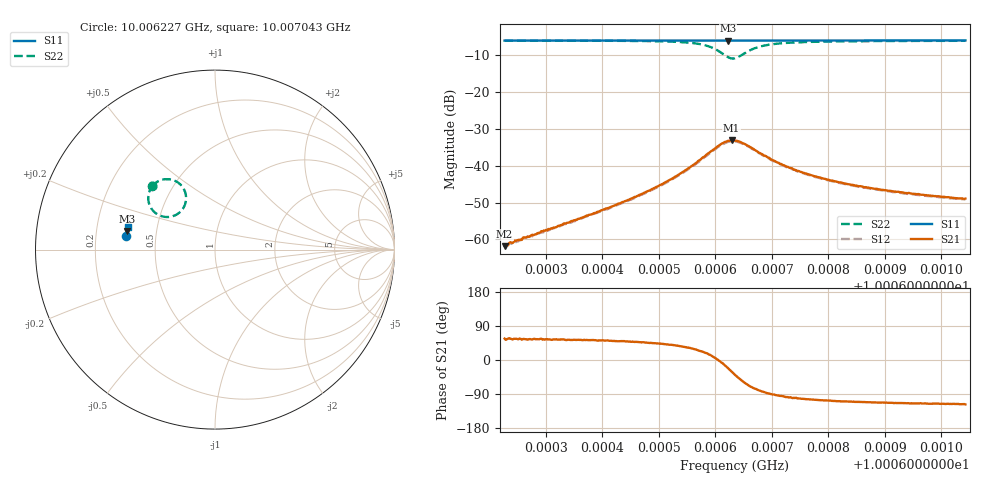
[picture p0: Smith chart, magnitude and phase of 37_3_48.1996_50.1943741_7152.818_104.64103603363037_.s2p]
#  HZ  S  RI  R  50.00
! Rohde & Schwarz Vector Network Analyzer
! Rohde-Schwarz,ZNB20-2Port,1311601062101988,3.16
! Created: UTC 3/20/2024, 11:37:43 AM
! freq[Hz]  re:S11  im:S11  re:S21  im:S21  re:S12  im:S12  re:S22  im:S22
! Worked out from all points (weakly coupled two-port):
!   401 points, 10.006227 GHz to 10.007043 GHz, reference 50 ohm
!   highest |S21| = -33.10 dB at 10.006629 GHz (marker M1); lowest = -61.8 dB at 10.006227 GHz (marker M2)
!   lowest |S11| = -6.0 dB at 10.006623 GHz (marker M3), VSWR 3.00, Z = 16.8 + j4.58 ohm
!   |S11| at or under -10 dB: nowhere
!   |S22| runs from -10.9 to -6.0 dB; largest |S21 - S12| = 0.0015
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1.0006227e10  -0.496 0.077  0.000447 0.000674  0.000453 0.000698  -0.3529 0.3538
1.00062474e10  -0.4959 0.0782  0.000531 0.000801  0.000466 0.000801  -0.3511 0.3555
1.00062698e10  -0.4956 0.0798  0.000621 0.000881  0.000586 0.00091  -0.349 0.3575
1.00063637e10  -0.4949 0.0859  0.00119 0.00157  0.00109 0.00159  -0.3381 0.3671
1.00064473e10  -0.4939 0.0914  0.0023 0.00259  0.00213 0.00265  -0.3215 0.3783
1.00065004e10  -0.4932 0.0949  0.0039 0.00369  0.00363 0.00375  -0.3016 0.3873
1.00065432e10  -0.4927 0.0979  0.00678 0.00476  0.00638 0.00494  -0.2701 0.3927
1.00065779e10  -0.4916 0.1003  0.012 0.00479  0.0112 0.00509  -0.2202 0.3821
1.00066004e10  -0.4908 0.1015  0.0173 0.00149  0.0167 0.00219  -0.1755 0.3405
1.00066126e10  -0.4903 0.1019  0.0199 -0.0028  0.0195 -0.00185  -0.1611 0.2939
1.00066228e10  -0.4899 0.1021  0.0203 -0.00809  0.02 -0.00683  -0.1693 0.2457
1.00066289e10  -0.4899 0.1022  0.019 -0.0113  0.0191 -0.00981  -0.186 0.2188
1.0006635e10  -0.49 0.1021  0.0171 -0.0139  0.0175 -0.0125  -0.2094 0.1982
1.00066514e10  -0.4905 0.1025  0.0102 -0.0171  0.011 -0.0162  -0.2813 0.1825
1.00066656e10  -0.4908 0.1037  0.00527 -0.0165  0.00606 -0.0158  -0.3264 0.2002
1.0006682e10  -0.4911 0.1048  0.00183 -0.0144  0.00269 -0.0141  -0.354 0.2281
1.00067268e10  -0.4909 0.108  -0.0013 -0.00966  -0.000793 -0.00946  -0.3719 0.2823
1.00067717e10  -0.4905 0.1112  -0.00182 -0.00716  -0.00147 -0.00709  -0.3694 0.3097
1.00068329e10  -0.4897 0.1152  -0.00187 -0.00537  -0.0016 -0.00535  -0.3631 0.3297
1.00069084e10  -0.4888 0.12  -0.00178 -0.00422  -0.00157 -0.00421  -0.3557 0.3438
1.00069737e10  -0.4878 0.124  -0.00168 -0.00362  -0.00148 -0.0036  -0.3503 0.3523
1.00070431e10  -0.4869 0.1286  -0.00162 -0.00319  -0.00142 -0.0032  -0.3453 0.359
